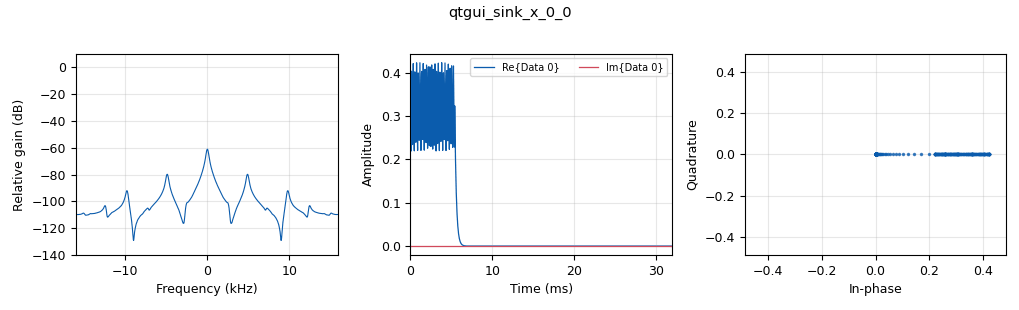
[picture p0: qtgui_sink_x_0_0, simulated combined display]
<?xml version='1.0' encoding='utf-8'?>
<?grc format='1' created='3.7.9'?>
<flow_graph>
<block>
<key>options</key>
<param><key>id</key><value>top_block</value></param>
<param><key>category</key><value>Custom</value></param>
<param><key>generate_options</key><value>qt_gui</value></param>
</block>
<block>
<key>variable</key>
<param><key>id</key><value>samp_rate</value></param>
<param><key>value</key><value>32000</value></param>
</block>
<block>
<key>variable</key>
<param><key>id</key><value>symbol_duration</value></param>
<param><key>value</key><value>0.35e-3</value></param>
</block>
<block>
<key>variable</key>
<param><key>id</key><value>target_freq</value></param>
<param><key>value</key><value>433.847e6</value></param>
</block>
<block>
<key>variable</key>
<param><key>id</key><value>target_rate</value></param>
<param><key>value</key><value>1e6</value></param>
</block>
<block>
<key>analog_const_source_x</key>
<param><key>id</key><value>analog_const_source_x_0</value></param>
<param><key>const</key><value>0</value></param>
<param><key>type</key><value>float</value></param>
</block>
<block>
<key>analog_const_source_x</key>
<param><key>id</key><value>analog_const_source_x_1</value></param>
<param><key>const</key><value>1</value></param>
<param><key>type</key><value>float</value></param>
</block>
<block>
<key>analog_sig_source_x</key>
<param><key>id</key><value>analog_sig_source_x_0</value></param>
<param><key>amp</key><value>1</value></param>
<param><key>freq</key><value>target_freq</value></param>
<param><key>offset</key><value>0</value></param>
<param><key>type</key><value>float</value></param>
<param><key>samp_rate</key><value>target_rate</value></param>
<param><key>waveform</key><value>analog.GR_COS_WAVE</value></param>
</block>
<block>
<key>blocks_file_sink</key>
<param><key>id</key><value>blocks_file_sink_0</value></param>
<param><key>file</key><value>/home/pintu/Desktop/GnuRadio/FIR Filter/output.txt</value></param>
<param><key>type</key><value>complex</value></param>
<param><key>unbuffered</key><value>True</value></param>
</block>
<block>
<key>blocks_float_to_complex</key>
<param><key>id</key><value>blocks_float_to_complex_1</value></param>
</block>
<block>
<key>blocks_multiply_const_vxx</key>
<param><key>id</key><value>blocks_multiply_const_vxx_1</value></param>
<param><key>const</key><value>1</value></param>
<param><key>type</key><value>complex</value></param>
</block>
<block>
<key>blocks_multiply_xx</key>
<param><key>id</key><value>blocks_multiply_xx_0</value></param>
<param><key>type</key><value>float</value></param>
</block>
<block>
<key>blocks_patterned_interleaver</key>
<param><key>id</key><value>blocks_patterned_interleaver_0</value></param>
<param><key>type</key><value>float</value></param>
<param><key>pattern</key><value>[1,0,2]</value></param>
</block>
<block>
<key>blocks_patterned_interleaver</key>
<param><key>id</key><value>blocks_patterned_interleaver_1</value></param>
<param><key>type</key><value>float</value></param>
<param><key>pattern</key><value>[0,0,0,0,0,0,0,0,0,0,0,0,0,0,0,0,0,0,0,0,0,0,0,0,0,0,0,0,0,0,0,0,0,0,0,0,0,0,0,1,1,1,1,1,1,1,1,1,1,1,1,1,1]</value></param>
</block>
<block>
<key>blocks_repeat</key>
<param><key>id</key><value>blocks_repeat_0</value></param>
<param><key>interp</key><value>int(target_rate*symbol_duration)</value></param>
<param><key>type</key><value>float</value></param>
</block>
<block>
<key>blocks_throttle</key>
<param><key>id</key><value>blocks_throttle_0</value></param>
<param><key>samples_per_second</key><value>target_rate</value></param>
<param><key>type</key><value>complex</value></param>
</block>
<block>
<key>blocks_throttle</key>
<param><key>id</key><value>blocks_throttle_2</value></param>
<param><key>samples_per_second</key><value>target_rate</value></param>
<param><key>type</key><value>float</value></param>
</block>
<block>
<key>blocks_vector_source_x</key>
<param><key>id</key><value>blocks_vector_source_x_0</value></param>
<param><key>type</key><value>float</value></param>
<param><key>repeat</key><value>True</value></param>
<param><key>vector</key><value>list(ord(i) for i in "HELLO" )</value></param>
</block>
<block>
<key>epy_block</key>
<param><key>id</key><value>epy_block_1</value></param>
<param><key>_source_code</key><value>"""
Embedded Python Blocks:

Each time this file is saved, GRC will instantiate the first class it finds
to get ports and parameters of your block. The arguments to __init__  will
be the parameters. All of them are required to have default values!
"""

import numpy as np
from gnuradio import gr


class blk(gr.sync_block):  # other base classes are basic_block, decim_block, interp_block
    """Embedded Python Block example - a simple multiply const"""

    def __init__(self, threshold=0.0, coeff=0.15):  # only default arguments here
        """arguments to this function show up as parameters in GRC"""
        gr.sync_block.__init__(
            self,
            name='Envelope Detector',   # will show up in GRC
            in_sig=[np.complex64],
            out_sig=[np.complex64]
        )
        # if an attribute with the same name as a parameter is found,
        # a callback is registered (properties work, too).

        self.threshold = threshold
        self.coeff = coeff

    def work(self, input_items, output_items):
        """Envelope Detect with Half/Full Wave Rectifier"""
        buf = [0] * len(input_items[0])
        a0 = self.coeff
        b1 = 1 - a0
        for i in range (0, len(input_items[0])) :
            if input_items[0][i] &gt; self.threshold:
                buf[i] = input_items[0][i]
            else:
                buf[i] = 0
        for i in range(0, len(output_items[0])):
            if i==0:
                output_items[0][i] = a0*buf[i]
            else:
                output_items[0][i] = a0*buf[i] + b1*output_items[0][i-1]

        i = len(output_items[0])-1
        self.ry = output_items[0][i]
        return len(output_items[0])
</value></param>
<param><key>coeff</key><value>0.15</value></param>
<param><key>threshold</key><value>0.0</value></param>
</block>
<block>
<key>qtgui_sink_x</key>
<param><key>id</key><value>qtgui_sink_x_0_0</value></param>
<param><key>bw</key><value>samp_rate</value></param>
<param><key>fc</key><value>0</value></param>
<param><key>freqchangevar</key><value>None</value></param>
<param><key>fftsize</key><value>1024</value></param>
<param><key>showports</key><value>True</value></param>
<param><key>type</key><value>complex</value></param>
<param><key>wintype</key><value>firdes.WIN_BLACKMAN_hARRIS</value></param>
</block>
<connection><source_block_id>analog_const_source_x_0</source_block_id><sink_block_id>blocks_patterned_interleaver_0</sink_block_id><source_key>0</source_key><sink_key>1</sink_key></connection>
<connection><source_block_id>analog_const_source_x_0</source_block_id><sink_block_id>blocks_patterned_interleaver_1</sink_block_id><source_key>0</source_key><sink_key>1</sink_key></connection>
<connection><source_block_id>analog_const_source_x_1</source_block_id><sink_block_id>blocks_patterned_interleaver_0</sink_block_id><source_key>0</source_key><sink_key>2</sink_key></connection>
<connection><source_block_id>analog_sig_source_x_0</source_block_id><sink_block_id>blocks_multiply_xx_0</sink_block_id><source_key>0</source_key><sink_key>1</sink_key></connection>
<connection><source_block_id>blocks_float_to_complex_1</source_block_id><sink_block_id>blocks_multiply_const_vxx_1</sink_block_id><source_key>0</source_key><sink_key>0</sink_key></connection>
<connection><source_block_id>blocks_multiply_const_vxx_1</source_block_id><sink_block_id>blocks_throttle_0</sink_block_id><source_key>0</source_key><sink_key>0</sink_key></connection>
<connection><source_block_id>blocks_multiply_xx_0</source_block_id><sink_block_id>blocks_float_to_complex_1</sink_block_id><source_key>0</source_key><sink_key>0</sink_key></connection>
<connection><source_block_id>blocks_patterned_interleaver_0</source_block_id><sink_block_id>blocks_patterned_interleaver_1</sink_block_id><source_key>0</source_key><sink_key>0</sink_key></connection>
<connection><source_block_id>blocks_patterned_interleaver_1</source_block_id><sink_block_id>blocks_repeat_0</sink_block_id><source_key>0</source_key><sink_key>0</sink_key></connection>
<connection><source_block_id>blocks_repeat_0</source_block_id><sink_block_id>blocks_throttle_2</sink_block_id><source_key>0</source_key><sink_key>0</sink_key></connection>
<connection><source_block_id>blocks_throttle_0</source_block_id><sink_block_id>epy_block_1</sink_block_id><source_key>0</source_key><sink_key>0</sink_key></connection>
<connection><source_block_id>blocks_throttle_2</source_block_id><sink_block_id>blocks_multiply_xx_0</sink_block_id><source_key>0</source_key><sink_key>0</sink_key></connection>
<connection><source_block_id>blocks_vector_source_x_0</source_block_id><sink_block_id>blocks_patterned_interleaver_0</sink_block_id><source_key>0</source_key><sink_key>0</sink_key></connection>
<connection><source_block_id>epy_block_1</source_block_id><sink_block_id>blocks_file_sink_0</sink_block_id><source_key>0</source_key><sink_key>0</sink_key></connection>
<connection><source_block_id>epy_block_1</source_block_id><sink_block_id>qtgui_sink_x_0_0</sink_block_id><source_key>0</source_key><sink_key>0</sink_key></connection>
</flow_graph>
